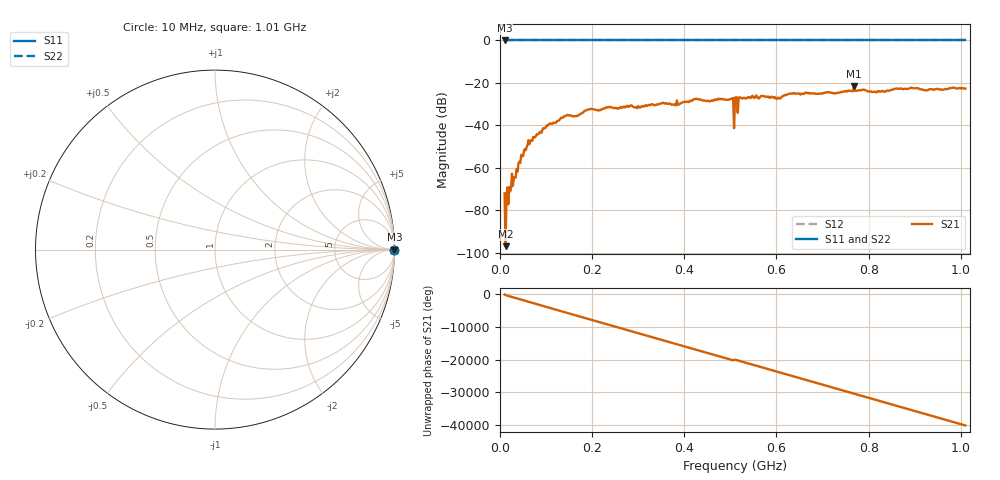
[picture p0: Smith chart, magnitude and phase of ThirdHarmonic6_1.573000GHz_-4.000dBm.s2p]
! 8/16/2025 6:42:19 PM
! C:\ANRITSUVNA\TEMP\TEMP.S2P
! CHANNEL.1
! TR.MEASUREMENT
! RAW.DATA
! RF.CORRECTION.OFF
! AVERAGING.OFF
! IF.BANDWIDTH: 5KHZ
! SWEEPTYPE:  FREQ.SWEEP(Linear)
! Reference Plane Port Info
! PORT:  PORT1  PORT2
! DISTANCE:  0  m  0  m
! TIME:  0  s  0  s
! PHASE.OFFSET:  0  deg.  0  deg.
! LOSS:  0  dB  0  dB
! REF.LOSS:  0  dB  0  dB
! REF.FREQ:  0  Hz  0  Hz
! Power Info
! POWER:  -20  dBm  -20  dBm
! EFF.POWER:  -20  dBm  -20  dBm
! SOURCE.ATTEN:  0  dB  0  dB
! TEST.ATTEN:  0  dB  0  dB
# GHZ S RI R 50.0
! FREQ.GHZ  S11RE  S11IM  S21RE  S21IM  S12RE  S12IM  S22RE  S22IM
!; PortSelection: Port_12
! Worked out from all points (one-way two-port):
!   501 points, 10 MHz to 1.01 GHz, reference 50 ohm
!   highest |S21| = -21.64 dB at 768 MHz (marker M1); lowest = -96.9 dB at 12 MHz (marker M2)
!   lowest |S11| = 0.0 dB at 10 MHz (marker M3)
!   |S11| at or under -10 dB: nowhere
!   |S22| runs from 0.0 to 0.0 dB; largest |S21 - S12| = 1.1
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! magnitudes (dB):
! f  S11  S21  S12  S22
! 10 MHz  0.0  -72.0  0.0  0.0
! 12 MHz  0.0  -96.9  0.0  0.0
! 16 MHz  0.0  -69.2  0.0  0.0
! 44 MHz  0.0  -57.7  0.0  0.0
! 64 MHz  0.0  -48.9  0.0  0.0
! 106 MHz  0.0  -39.5  0.0  0.0
! 144 MHz  0.0  -35.3  0.0  0.0
! 178 MHz  0.0  -34.2  0.0  0.0
! 196 MHz  0.0  -32.4  0.0  0.0
! 344 MHz  0.0  -30.2  0.0  0.0
! 502 MHz  0.0  -27.5  0.0  0.0
! 504 MHz  0.0  -27.3  0.0  0.0
! 510 MHz  0.0  -26.9  0.0  0.0
! 512 MHz  0.0  -26.8  0.0  0.0
! 514 MHz  0.0  -26.8  0.0  0.0
! 522 MHz  0.0  -26.8  0.0  0.0
! 604 MHz  0.0  -26.9  0.0  0.0
! 630 MHz  0.0  -25.0  0.0  0.0
! 678 MHz  0.0  -24.8  0.0  0.0
! 768 MHz  0.0  -21.6  0.0  0.0
! 844 MHz  0.0  -23.7  0.0  0.0
! 1.01 GHz  0.0  -22.7  0.0  0.0
